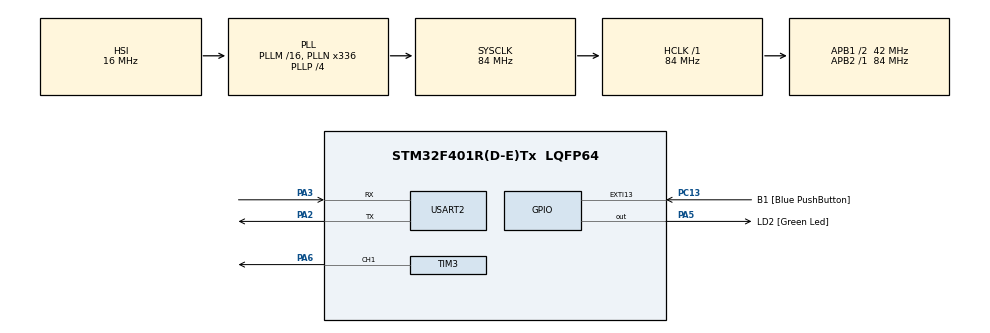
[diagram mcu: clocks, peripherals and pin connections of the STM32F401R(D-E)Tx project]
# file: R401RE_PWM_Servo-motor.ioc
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Mcu.Family=STM32F4
Mcu.Name=STM32F401R(D-E)Tx
Mcu.Package=LQFP64
NVIC.PriorityGroup=NVIC_PRIORITYGROUP_0
PA13.GPIO_Label=TMS
PA13.Mode=Serial_Wire
PA13.Signal=SYS_JTMS-SWDIO
PA14.GPIO_Label=TCK
PA14.Mode=Serial_Wire
PA14.Signal=SYS_JTCK-SWCLK
PA2.Mode=Asynchronous
PA2.Signal=USART2_TX
PA3.Mode=Asynchronous
PA3.Signal=USART2_RX
PA5.GPIO_Label=LD2 [Green Led]
PA5.GPIO_Mode=GPIO_MODE_OUTPUT_PP
PA5.GPIO_PuPd=GPIO_NOPULL
PA5.GPIO_Speed=GPIO_SPEED_FREQ_LOW
PA5.Signal=GPIO_Output
PA6.Signal=S_TIM3_CH1
PB3.GPIO_Label=SWO
PB3.Signal=SYS_JTDO-SWO
PC13-ANTI_TAMP.GPIO_Label=B1 [Blue PushButton]
PC13-ANTI_TAMP.GPIO_ModeDefaultEXTI=GPIO_MODE_IT_FALLING
PC13-ANTI_TAMP.GPIO_PuPd=GPIO_NOPULL
PC13-ANTI_TAMP.Signal=GPXTI13
PC14-OSC32_IN.Mode=LSE-External-Oscillator
PC14-OSC32_IN.Signal=RCC_OSC32_IN
PC15-OSC32_OUT.Mode=LSE-External-Oscillator
PC15-OSC32_OUT.Signal=RCC_OSC32_OUT
PH0\ -\ OSC_IN.Mode=HSE-External-Clock-Source
PH0\ -\ OSC_IN.Signal=RCC_OSC_IN
PH1\ -\ OSC_OUT.Mode=HSE-External-Clock-Source
PH1\ -\ OSC_OUT.Signal=RCC_OSC_OUT
ProjectManager.HeapSize=0x200
ProjectManager.StackSize=0x400
ProjectManager.TargetToolchain=STM32CubeIDE
RCC.48MHZClocksFreq_Value=48000000
RCC.AHBFreq_Value=84000000
RCC.APB1CLKDivider=RCC_HCLK_DIV2
RCC.APB1Freq_Value=42000000
RCC.APB1TimFreq_Value=84000000
RCC.APB2Freq_Value=84000000
RCC.APB2TimFreq_Value=84000000
RCC.CortexFreq_Value=84000000
RCC.HCLKFreq_Value=84000000
RCC.HSE_VALUE=8000000
RCC.HSI_VALUE=16000000
RCC.PLLN=336
RCC.PLLP=RCC_PLLP_DIV4
RCC.PLLQ=7
RCC.SYSCLKFreq_VALUE=84000000
RCC.SYSCLKSource=RCC_SYSCLKSOURCE_PLLCLK
RCC.VCOOutputFreq_Value=336000000
SH.S_TIM3_CH1.0=TIM3_CH1,PWM Generation1 CH1
TIM3.Channel-PWM\ Generation1\ CH1=TIM_CHANNEL_1
TIM3.Period=1000-1
TIM3.Prescaler=1680-1
USART2.VirtualMode=VM_ASYNC
VP_TIM3_VS_ClockSourceINT.Mode=Internal
board=NUCLEO-F401RE

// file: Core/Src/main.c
/* USER CODE BEGIN Header */
/**
  ******************************************************************************
  * @file           : main.c
  * @brief          : Main program body
  ******************************************************************************
  * @attention
  *
  * Copyright (c) 2023 STMicroelectronics.
  * All rights reserved.
  *
  * This software is licensed under terms that can be found in the LICENSE file
  * in the root directory of this software component.
  * If no LICENSE file comes with this software, it is provided AS-IS.
  *
  ******************************************************************************
  */
/* USER CODE END Header */
#include "main.h"
#include "tim.h"
#include "usart.h"
#include "gpio.h"

void SystemClock_Config(void);

/* USER CODE BEGIN 0 */
int __io_putcher(int ch){
	HAL_UART_Transmit(&huart2, (uint8_t *)&ch, 1, 0xFFFF);
	return 0;
}

uint8_t data;
/* USER CODE END 0 */

int main(void)
{

  /* MCU Configuration--------------------------------------------------------*/

  /* Reset of all peripherals, Initializes the Flash interface and the Systick. */
  HAL_Init();

  /* Configure the system clock */
  SystemClock_Config();

  /* Initialize all configured peripherals */
  MX_GPIO_Init();
  MX_USART2_UART_Init();
  MX_TIM3_Init();
  /* USER CODE BEGIN 2 */
  HAL_TIM_PWM_Start(&htim3, TIM_CHANNEL_1);
  uint8_t value = 25;
  /* USER CODE END 2 */

  /* Infinite loop */
  /* USER CODE BEGIN WHILE */
  while (1)
  {
	  HAL_UART_Receive(&huart2, &data, sizeof(data), 100);
	  if(data == '1'){
	  // Cube는 ' ' 와 " " 차이를 가짐 위에 data는 == "1"시 오류
		  HAL_UART_Transmit(&huart2, (uint8_t *)"Servo-Motor Move\r\n", strlen("Servo-Motor Move\r\n"), 100);
		  if(value < 125){
			  value = value + 25;
			  TIM3 -> CCR1 = value;
			  HAL_Delay(1000);
		  }
		  else{
			value = 25;
			TIM3 -> CCR1 = value;
			HAL_Delay(1000);
		  }
	  }
    /* USER CODE END WHILE */

  }
}

void SystemClock_Config(void)
{
  RCC_OscInitTypeDef RCC_OscInitStruct = {0};
  RCC_ClkInitTypeDef RCC_ClkInitStruct = {0};

  /** Configure the main internal regulator output voltage
  */
  __HAL_RCC_PWR_CLK_ENABLE();
  __HAL_PWR_VOLTAGESCALING_CONFIG(PWR_REGULATOR_VOLTAGE_SCALE2);

  /** Initializes the RCC Oscillators according to the specified parameters
  * in the RCC_OscInitTypeDef structure.
  */
  RCC_OscInitStruct.OscillatorType = RCC_OSCILLATORTYPE_HSI;
  RCC_OscInitStruct.HSIState = RCC_HSI_ON;
  RCC_OscInitStruct.HSICalibrationValue = RCC_HSICALIBRATION_DEFAULT;
  RCC_OscInitStruct.PLL.PLLState = RCC_PLL_ON;
  RCC_OscInitStruct.PLL.PLLSource = RCC_PLLSOURCE_HSI;
  RCC_OscInitStruct.PLL.PLLM = 16;
  RCC_OscInitStruct.PLL.PLLN = 336;
  RCC_OscInitStruct.PLL.PLLP = RCC_PLLP_DIV4;
  RCC_OscInitStruct.PLL.PLLQ = 7;
  if (HAL_RCC_OscConfig(&RCC_OscInitStruct) != HAL_OK)
  {
    Error_Handler();
  }

  /** Initializes the CPU, AHB and APB buses clocks
  */
  RCC_ClkInitStruct.ClockType = RCC_CLOCKTYPE_HCLK|RCC_CLOCKTYPE_SYSCLK
                              |RCC_CLOCKTYPE_PCLK1|RCC_CLOCKTYPE_PCLK2;
  RCC_ClkInitStruct.SYSCLKSource = RCC_SYSCLKSOURCE_PLLCLK;
  RCC_ClkInitStruct.AHBCLKDivider = RCC_SYSCLK_DIV1;
  RCC_ClkInitStruct.APB1CLKDivider = RCC_HCLK_DIV2;
  RCC_ClkInitStruct.APB2CLKDivider = RCC_HCLK_DIV1;

  if (HAL_RCC_ClockConfig(&RCC_ClkInitStruct, FLASH_LATENCY_2) != HAL_OK)
  {
    Error_Handler();
  }
}

void Error_Handler(void)
{
  __disable_irq();
  while (1)
  {
  }
}
